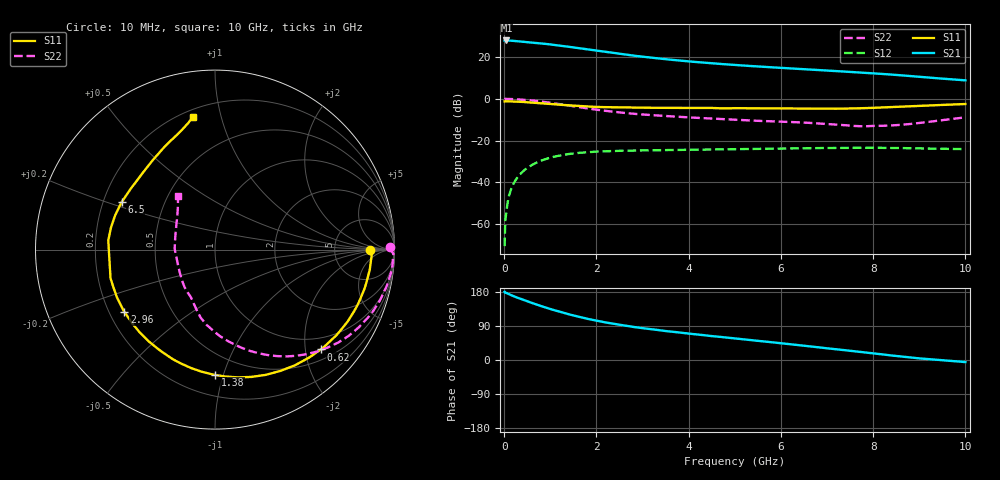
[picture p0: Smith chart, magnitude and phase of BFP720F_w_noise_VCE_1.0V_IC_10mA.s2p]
! Infineon Technologies  Discrete & RF Semiconductors
! BFP720F
! VCE =  1.0 V,  IC =  10 mA
! Common Emitter S-Parameters:  Jan 2016
# GHz  S  MA  R  50
!  f  S11  S21  S12  S22
! GHz  MAG  ANG  MAG  ANG  MAG  ANG  MAG  ANG
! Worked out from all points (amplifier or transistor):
!   233 points, 10 MHz to 10 GHz, reference 50 ohm
!   highest |S21| = 27.9 dB at 50 MHz (marker M1)
!   |S21| within 3 dB of that: start of sweep to 1.392 GHz
!   unconditionally stable (mu >= 1): start of sweep to 12.59 MHz; 6.942 GHz to end of sweep
!   at 200 MHz: K = 0.06, MSG = 34.2 dB, |S12| = -40.7 dB
!   at 1.74 GHz: K = 0.31, MSG = 24.7 dB, |S12| = -25.6 dB
!   at 10 GHz: K = 1.31, MAG = 13.1 dB, |S12| = -24.1 dB
!   lowest NFmin = 0.55 dB at 450 MHz
!   S11 on the Smith chart (normalised r, x): 10 MHz: 14, -0; 620 MHz: 0.72, -2.32; 1.38 GHz: 0.35, -0.94; 2.96 GHz: 0.26, -0.29; 6.5 GHz: 0.28, +0.22; 10 GHz: 0.24, +0.82
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0.01  0.8647 -0.1  24.62 179.7  0.0003 -8.3  0.9735 0.7
0.02  0.8747 -1.3  24.51 177.6  0.001 89.6  0.9942 -1.4
0.05  0.8712 -3.7  24.78 176.9  0.0021 81.7  0.9928 -2.4
0.15  0.8648 -10.9  24.45 171.2  0.0069 84.2  0.9895 -7.3
0.32  0.8493 -22.8  23.56 162.9  0.0146 77.2  0.966 -15.5
0.62  0.81 -43.4  22.06 149.9  0.0268 65.8  0.9056 -29.2
0.8  0.7834 -55.4  21.17 142.3  0.0332 59.5  0.8609 -36.9
0.96  0.7577 -65.5  20.17 136.1  0.038 54.1  0.8145 -43.3
1.2  0.7233 -79.9  18.71 127.4  0.0439 47.0  0.7456 -52.5
1.38  0.6985 -89.8  17.61 121.4  0.0474 42.3  0.695 -58.7
1.68  0.6644 -105.4  15.88 112.1  0.0517 35.4  0.6169 -68.3
1.92  0.6447 -115.8  14.55 105.7  0.0541 30.9  0.5646 -75.1
2.2  0.6306 -126.0  13.17 99.1  0.0559 26.4  0.5145 -82.0
2.6  0.6187 -137.6  11.49 90.9  0.0574 21.3  0.4598 -90.2
2.96  0.6125 -145.5  10.26 84.7  0.0583 18.2  0.4247 -95.9
3.4  0.6079 -152.5  9.074 78.1  0.0592 15.1  0.3938 -100.7
4  0.6037 -159.9  7.824 69.6  0.0603 11.7  0.3588 -105.8
5.1  0.5953 173.7  6.32 55.7  0.0626 7.0  0.3122 -113.7
6.5  0.5836 153.1  5.107 37.7  0.066 0.9  0.2707 -128.4
6.8  0.5792 147.8  4.878 33.7  0.0664 -0.5  0.2581 -133.6
8.4  0.6339 117.1  3.786 11.9  0.0668 -8.9  0.2306 164.2
10  0.7502 99.4  2.756 -5.5  0.0626 -13.4  0.3607 124.8
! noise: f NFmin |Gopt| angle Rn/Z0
0.45  0.55  0.3  3  0.33
0.9  0.58  0.27  8  0.12
1.8  0.62  0.25  13  0.15
2.4  0.65  0.22  23  0.14
5.5  0.8  0.2  43  0.09
10  1  0.28  -91  0.17
